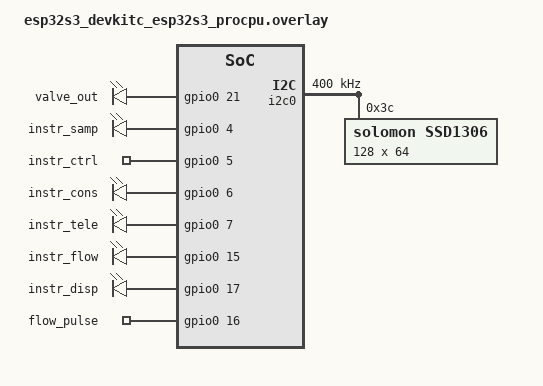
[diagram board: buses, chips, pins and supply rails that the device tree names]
/*
 * ESP32-S3-DevKitC-1 pin map. Only hardware description changes; the C does not.
 *
 * The six instrumentation pins are GPIO4-GPIO7 plus GPIO15 and GPIO17, which sit
 * on the same side of the devkit, so the analyzer ribbon clips on in one go.
 * Everything else stays clear of the strapping pins (0/3/45/46), the USB-JTAG
 * pair (19/20), the console UART (43/44) and the octal PSRAM/flash lines
 * (26-37, which on the N8R8 modules are not routed to the headers).
 *
 * No plain LED on this devkit: its only on-board LED is an addressable WS2812
 * on GPIO48, useless for a 50 Hz software PWM. The valve is therefore an
 * external LED on GPIO21, declared here as valve_out and aliased to led0.
 *
 * Pressure comes from the synthetic plant until the pot is wired: build with
 * -DEXTRA_DTC_OVERLAY_FILE=pot_esp32.overlay to read it from ADC1 instead.
 */

#include <zephyr/dt-bindings/gpio/gpio.h>
#include <zephyr/dt-bindings/i2c/i2c.h>
#include <zephyr/dt-bindings/pinctrl/esp32s3-pinctrl.h>

/ {
	aliases {
		led0 = &valve_out;
	};

	leds {
		compatible = "gpio-leds";
		valve_out: valve_out { gpios = <&gpio0 21 GPIO_ACTIVE_HIGH>; };
	};

	instr {
		compatible = "gpio-leds";
		instr_samp: instr_samp { gpios = <&gpio0 4 GPIO_ACTIVE_HIGH>; };
		instr_ctrl: instr_ctrl { gpios = <&gpio0 5 GPIO_ACTIVE_HIGH>; };
		instr_cons: instr_cons { gpios = <&gpio0 6 GPIO_ACTIVE_HIGH>; };
		instr_tele: instr_tele { gpios = <&gpio0 7 GPIO_ACTIVE_HIGH>; };
		instr_flow: instr_flow { gpios = <&gpio0 15 GPIO_ACTIVE_HIGH>; };
		instr_disp: instr_disp { gpios = <&gpio0 17 GPIO_ACTIVE_HIGH>; };
	};

	keys {
		compatible = "gpio-keys";
		flow_pulse: flow_pulse {
			gpios = <&gpio0 16 (GPIO_ACTIVE_HIGH | GPIO_PULL_DOWN)>;
		};
	};
};

/* The board's own i2c0_default sits on SDA GPIO1 / SCL GPIO2, and GPIO2 is the
 * ADC1 channel the pot fragment claims for pressure. Move the bus to the
 * GPIO8/GPIO9 pair the firmware README documents so both can coexist. */
&pinctrl {
	i2c0_hmi: i2c0_hmi {
		group1 {
			pinmux = <I2C0_SDA_GPIO8>,
				 <I2C0_SCL_GPIO9>;
			bias-pull-up;
			drive-open-drain;
			output-high;
		};
	};
};

/* Optional SSD1306 HMI (build with -DEXTRA_CONF_FILE=display.conf).
 * Unlike the C6 board, the S3 board leaves i2c0 off: enable it here. */
&i2c0 {
	status = "okay";
	pinctrl-0 = <&i2c0_hmi>;
	pinctrl-names = "default";
	clock-frequency = <I2C_BITRATE_FAST>;

	ssd1306: ssd1306@3c {
		compatible = "solomon,ssd1306";
		reg = <0x3c>;
		width = <128>;
		height = <64>;
		segment-offset = <0>;
		page-offset = <0>;
		display-offset = <0>;
		multiplex-ratio = <63>;
		prechargep = <0x22>;
		segment-remap;
		com-invdir;
	};
};
